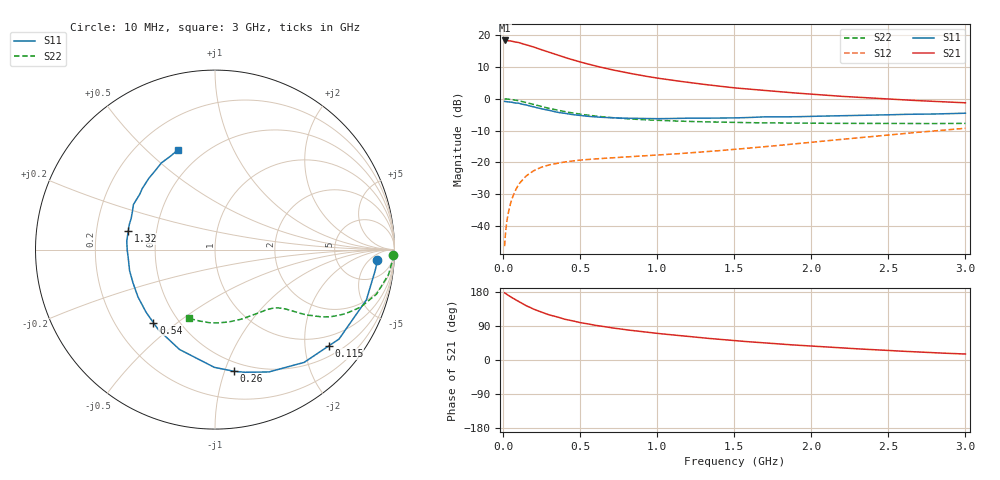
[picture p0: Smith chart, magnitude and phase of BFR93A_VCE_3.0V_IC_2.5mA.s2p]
! Infineon Technologies  Discrete & RF Semiconductors
! BFR93A
! VCE =  3.0 V,  IC =  2.5 mA
! Common Emitter S-Parameters:  Nov 2015
# GHz  S  MA  R  50
!  f  S11  S21  S12  S22
! GHz  MAG  ANG  MAG  ANG  MAG  ANG  MAG  ANG
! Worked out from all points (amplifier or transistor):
!   180 points, 10 MHz to 3 GHz, reference 50 ohm
!   highest |S21| = 18.3 dB at 10 MHz (marker M1)
!   |S21| within 3 dB of that: start of sweep to 254.7 MHz
!   unconditionally stable (mu >= 1): 930.1 MHz to 2.791 GHz
!   at 160 MHz: K = 0.22, MSG = 20.4 dB, |S12| = -23.9 dB
!   at 1.22 GHz: K = 1.13, MAG = 8.8 dB, |S12| = -17.0 dB
!   at 3 GHz: K = 0.96, MSG = 4.0 dB, |S12| = -9.3 dB
!   S11 on the Smith chart (normalised r, x): 10 MHz: 14, -9; 115 MHz: 0.74, -2.54; 260 MHz: 0.42, -1.08; 540 MHz: 0.36, -0.41; 1.32 GHz: 0.34, +0.09; 3 GHz: 0.37, +0.63
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0.01  0.9068 -3.7  8.244 177.2  0.0048 89.6  0.9941 -1.7
0.025  0.8961 -9.1  8.199 173.1  0.0119 83.1  0.9885 -4.1
0.045  0.8884 -16.5  8.104 167.8  0.021 80.3  0.9786 -7.4
0.1  0.852 -35.8  7.661 154.5  0.0445 70.7  0.9328 -15.5
0.115  0.8301 -40.3  7.455 151.3  0.0493 67.7  0.9135 -17.2
0.15  0.8009 -51.7  7.074 143.2  0.0609 62.5  0.8721 -21.6
0.2  0.745 -66.2  6.483 133.9  0.074 56.4  0.8108 -26.1
0.26  0.6864 -81.1  5.779 124.4  0.0854 50.5  0.7436 -30.2
0.3  0.6561 -90.3  5.37 119.0  0.0912 47.7  0.7038 -32.2
0.4  0.5905 -109.6  4.454 107.6  0.1013 42.8  0.6244 -35.6
0.5  0.5468 -125.2  3.778 98.7  0.1083 40.0  0.571 -37.6
0.52  0.5391 -127.6  3.672 97.4  0.1093 39.8  0.5632 -37.9
0.54  0.5324 -130.1  3.567 96.0  0.1103 39.5  0.5554 -38.2
0.6  0.5186 -137.9  3.268 91.4  0.1132 38.9  0.5321 -39.2
0.7  0.5036 -148.5  2.874 85.1  0.1174 38.9  0.505 -40.6
0.8  0.4931 -157.8  2.565 79.6  0.1213 39.5  0.4847 -42.2
1.02  0.4856 -174.5  2.077 69.4  0.1307 41.9  0.4557 -46.0
1.32  0.4943 167.8  1.663 57.4  0.1473 46.1  0.4326 -52.9
1.52  0.4999 158.6  1.468 50.5  0.161 48.9  0.4233 -58.2
2.02  0.5299 139.4  1.169 36.1  0.2086 53.3  0.4115 -73.5
2.52  0.56 124.1  0.982 24.7  0.2722 53.0  0.408 -91.1
3  0.5914 110.6  0.863 15.8  0.3427 49.2  0.4095 -110.6
